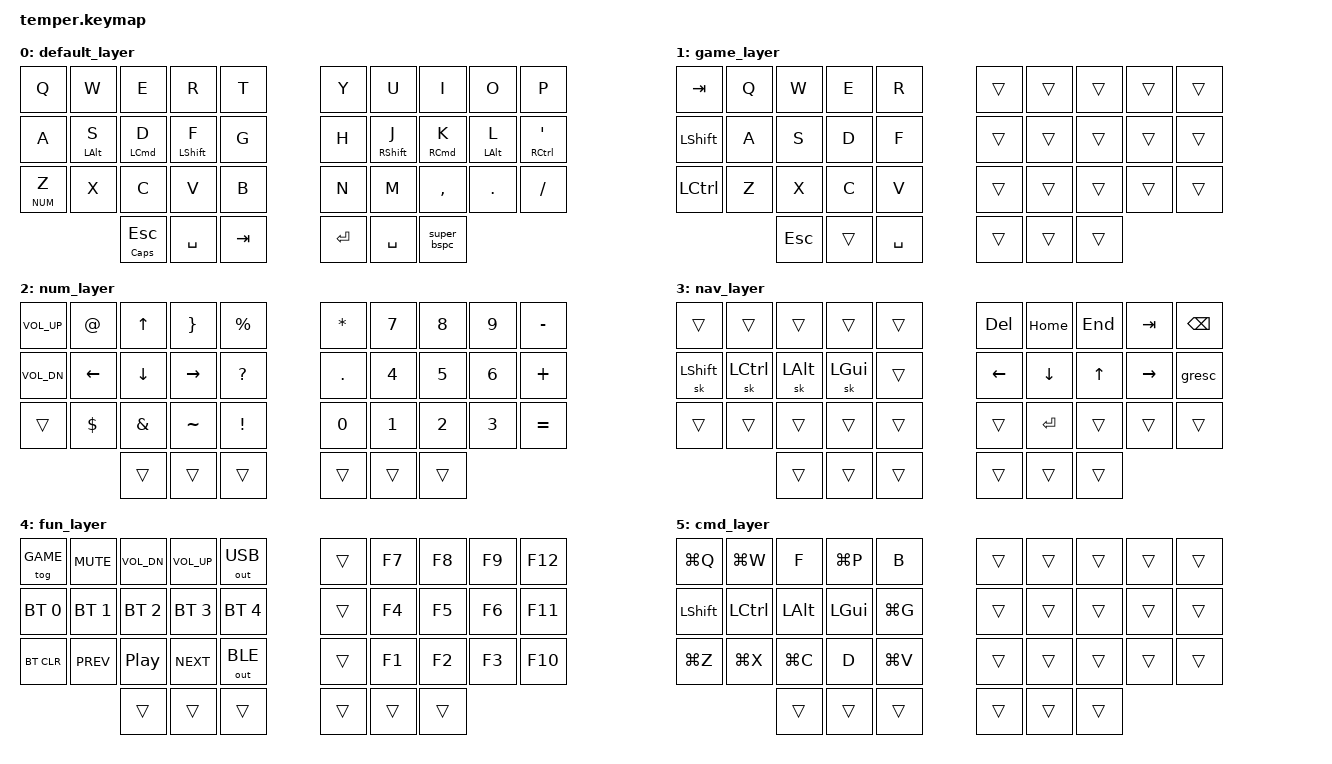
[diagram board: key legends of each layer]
/*
 * Copyright (c) 2020 The ZMK Contributors
 *
 * SPDX-License-Identifier: MIT
 */

#include <behaviors.dtsi>
#include <dt-bindings/zmk/keys.h>
#include <dt-bindings/zmk/bt.h>
#include <dt-bindings/zmk/outputs.h>

#define DEFAULT 0
#define GAME 1
#define NUM 2
#define NAV 3
#define FUN 4
#define CMD 5

# define ______ &trans

/ {
    conditional_layers {
        compatible = "zmk,conditional-layers";
        tri_layer {
            if-layers = <NUM NAV>;
            then-layer = <FUN>;
        };
    };
    behaviors {
        bspc_del: backspace_delete {
            compatible = "zmk,behavior-mod-morph";
            #binding-cells = <0>;
            bindings = <&kp BACKSPACE>, <&kp DELETE>;
            mods = <(MOD_LSFT|MOD_RSFT)>;
            keep-mods = <(MOD_RSFT)>;
        };
        super_bspc: super_backspace {
            compatible = "zmk,behavior-mod-morph";
            #binding-cells = <0>;
            bindings = <&kp BACKSPACE>, <&kp LA(BACKSPACE)>;
            mods = <(MOD_LSFT|MOD_RSFT)>;
        };
        smart_shft: smart_shift {
            compatible = "zmk,behavior-mod-morph";
            #binding-cells = <0>;
            bindings = <&kp LSHFT>, <&caps_word>;
            mods = <(MOD_LSFT)>;
        };
        comma_semi: comma_semi {
            compatible = "zmk,behavior-mod-morph";
            #binding-cells = <0>;
            bindings = <&kp COMMA>, <&kp SEMI>;
            mods = <(MOD_LSFT)>;
        };
        dot_colon: dot_colon {
            compatible = "zmk,behavior-mod-morph";
            #binding-cells = <0>;
            bindings = <&kp DOT>, <&kp COLON>;
            mods = <(MOD_LSFT)>;
        };
        qmrk_excl: qmrk_excl {
            compatible = "zmk,behavior-mod-morph";
            #binding-cells = <0>;
            bindings = <&kp QMARK>, <&kp EXCL>;
            mods = <(MOD_LSFT)>;
        };
        slh_morph: slh_morph {
            compatible = "zmk,behavior-mod-morph";
            #binding-cells = <0>;
            bindings = <&kp FSLH>, <&kp BSLH>;
            mods = <(MOD_LSFT)>;
        };
        amps_morph: amps_morph {
            compatible = "zmk,behavior-mod-morph";
            #binding-cells = <0>;
            bindings = <&kp AMPS>, <&kp PIPE>;
            mods = <(MOD_LSFT)>;
        };
    };
        keymap {
                compatible = "zmk,keymap";

                default_layer {
                        bindings = <
// ╭─────────────┬─────────────┬─────────────┬─────────────┬─────────────╮   ╭─────────────┬─────────────┬─────────────┬─────────────┬─────────────╮
        &kp Q         &kp W         &kp E         &kp R         &kp T              &kp Y        &kp U         &kp I         &kp O         &kp P   
// ├─────────────┼─────────────┼─────────────┼─────────────┼─────────────┤   ├─────────────┼─────────────┼─────────────┼─────────────┼─────────────┤
        &kp A      &bhm LALT S   &bhm LCMD D  &bhm LSHIFT F    &kp G              &kp H     &bhm RSHIFT J  &bhm RCMD K   &bhm LALT L   &bhm RCTRL SQT
// ├─────────────┼─────────────┼─────────────┼─────────────┼─────────────┤   ├─────────────┼─────────────┼─────────────┼─────────────┼─────────────┤
      &lt NUM Z        &kp X         &kp C         &kp V         &kp B             &kp N        &kp M       &kp COMMA      &kp DOT      &kp FSLH
// ╰─────────────┴─────────────┼─────────────┼─────────────┼─────────────┤   ├─────────────┼─────────────┼─────────────┼─────────────┴─────────────╯
                                &mt CAPS ESC   &kp SPACE    &kp TAB           &kp RET      &kp SPACE     &super_bspc
//                             ╰─────────────┴─────────────┴─────────────╯   ╰─────────────┴─────────────┴─────────────╯              
                        >;
                };
                game_layer {
                        bindings = <
// ╭─────────────┬─────────────┬─────────────┬─────────────┬─────────────╮   ╭─────────────┬─────────────┬─────────────┬─────────────┬─────────────╮
        &kp TAB       &kp Q         &kp W         &kp E         &kp R             ______        ______        ______        ______        ______  
// ├─────────────┼─────────────┼─────────────┼─────────────┼─────────────┤   ├─────────────┼─────────────┼─────────────┼─────────────┼─────────────┤
       &kp LSHFT      &kp A         &kp S         &kp D         &kp F             ______        ______        ______        ______        ______
// ├─────────────┼─────────────┼─────────────┼─────────────┼─────────────┤   ├─────────────┼─────────────┼─────────────┼─────────────┼─────────────┤
       &kp LCTRL      &kp Z         &kp X         &kp C         &kp V             ______        ______        ______        ______        ______
// ╰─────────────┴─────────────┼─────────────┼─────────────┼─────────────┤   ├─────────────┼─────────────┼─────────────┼─────────────┴─────────────╯
                                    &kp ESC       ______      &kp SPACE           ______        ______        ______
//                             ╰─────────────┴─────────────┴─────────────╯   ╰─────────────┴─────────────┴─────────────╯
                        >;
                };
                num_layer {
                        bindings = <
// ╭─────────────┬─────────────┬─────────────┬─────────────┬─────────────╮   ╭─────────────┬─────────────┬─────────────┬─────────────┬─────────────╮
      &kp C_VOL_UP   &kp AT         &kp UP       &kp RBRC     &kp PRCNT          &kp STAR       &kp N7        &kp N8        &kp N9      &kp MINUS
// ├─────────────┼─────────────┼─────────────┼─────────────┼─────────────┤   ├─────────────┼─────────────┼─────────────┼─────────────┼─────────────┤
      &kp C_VOL_DN   &kp LEFT      &kp DOWN      &kp RIGHT   &kp QUESTION      &kp DOT        &kp N4        &kp N5        &kp N6      &kp PLUS
// ├─────────────┼─────────────┼─────────────┼─────────────┼─────────────┤   ├─────────────┼─────────────┼─────────────┼─────────────┼─────────────┤
       &trans        &kp DLLR      &kp AMPS      &kp TILDE     &kp EXCL           &kp N0      &kp N1        &kp N2        &kp N3      &kp EQUAL
// ╰─────────────┴─────────────┼─────────────┼─────────────┼─────────────┤   ├─────────────┼─────────────┼─────────────┼─────────────┴─────────────╯
                                    &trans       &trans       &trans            &trans        &trans        &trans
//                             ╰─────────────┴─────────────┴─────────────╯   ╰─────────────┴─────────────┴─────────────╯
                        >;
                };

                nav_layer {
                        bindings = <
// ╭─────────────┬─────────────┬─────────────┬─────────────┬─────────────╮   ╭─────────────┬─────────────┬─────────────┬─────────────┬─────────────╮
        ______        ______        ______        ______        ______           &kp DEL       &kp HOME      &kp END       &kp TAB       &kp BSPC
// ├─────────────┼─────────────┼─────────────┼─────────────┼─────────────┤   ├─────────────┼─────────────┼─────────────┼─────────────┼─────────────┤
      &sk LSHFT     &sk LCTRL      &sk LALT      &sk LGUI       ______           &kp LEFT      &kp DOWN       &kp UP      &kp RIGHT       &gresc
// ├─────────────┼─────────────┼─────────────┼─────────────┼─────────────┤   ├─────────────┼─────────────┼─────────────┼─────────────┼─────────────┤
        ______        ______        ______        ______        ______            ______        &kp RET       ______        ______        ______
// ╰─────────────┴─────────────┼─────────────┼─────────────┼─────────────┤   ├─────────────┼─────────────┼─────────────┼─────────────┴─────────────╯
                                    ______        ______        ______            ______        ______        ______
//                             ╰─────────────┴─────────────┴─────────────╯   ╰─────────────┴─────────────┴─────────────╯
                        >;
                };

                fun_layer {
                        bindings = <
// ╭─────────────┬─────────────┬─────────────┬─────────────┬─────────────╮   ╭─────────────┬─────────────┬─────────────┬─────────────┬─────────────╮
      &tog GAME    &kp K_MUTE    &kp C_VOL_DN  &kp C_VOL_UP  &out OUT_USB         ______        &kp F7        &kp F8        &kp F9       &kp F12
// ├─────────────┼─────────────┼─────────────┼─────────────┼─────────────┤   ├─────────────┼─────────────┼─────────────┼─────────────┼─────────────┤
     &bt BT_SEL 0  &bt BT_SEL 1  &bt BT_SEL 2  &bt BT_SEL 3  &bt BT_SEL 4         ______        &kp F4        &kp F5        &kp F6       &kp F11
// ├─────────────┼─────────────┼─────────────┼─────────────┼─────────────┤   ├─────────────┼─────────────┼─────────────┼─────────────┼─────────────┤
      &bt BT_CLR    &kp C_PREV     &kp C_PP     &kp C_NEXT   &out OUT_BLE         ______        &kp F1        &kp F2        &kp F3       &kp F10
// ╰─────────────┴─────────────┼─────────────┼─────────────┼─────────────┤   ├─────────────┼─────────────┼─────────────┼─────────────┴─────────────╯
                                    ______        ______        ______            ______        ______        ______
//                             ╰─────────────┴─────────────┴─────────────╯   ╰─────────────┴─────────────┴─────────────╯
                        >;
                };

                cmd_layer {
                        bindings = <
// ╭─────────────┬─────────────┬─────────────┬─────────────┬─────────────╮   ╭─────────────┬─────────────┬─────────────┬─────────────┬─────────────╮
       &kp LG(Q)    &kp LG(W)       &kp F       &kp LG(P)       &kp B             ______        ______        ______        ______        ______  
// ├─────────────┼─────────────┼─────────────┼─────────────┼─────────────┤   ├─────────────┼─────────────┼─────────────┼─────────────┼─────────────┤
       &kp LSHFT    &kp LCTRL     &kp LALT      &kp LGUI      &kp LG(G)           ______        ______        ______        ______        ______
// ├─────────────┼─────────────┼─────────────┼─────────────┼─────────────┤   ├─────────────┼─────────────┼─────────────┼─────────────┼─────────────┤
       &kp LG(Z)    &kp LG(X)     &kp LG(C)       &kp D       &kp LG(V)           ______        ______        ______        ______        ______
// ╰─────────────┴─────────────┼─────────────┼─────────────┼─────────────┤   ├─────────────┼─────────────┼─────────────┼─────────────┴─────────────╯
                                    ______        ______        ______            ______        ______        ______
//                             ╰─────────────┴─────────────┴─────────────╯   ╰─────────────┴─────────────┴─────────────╯
                        >;
                };
        };
};
